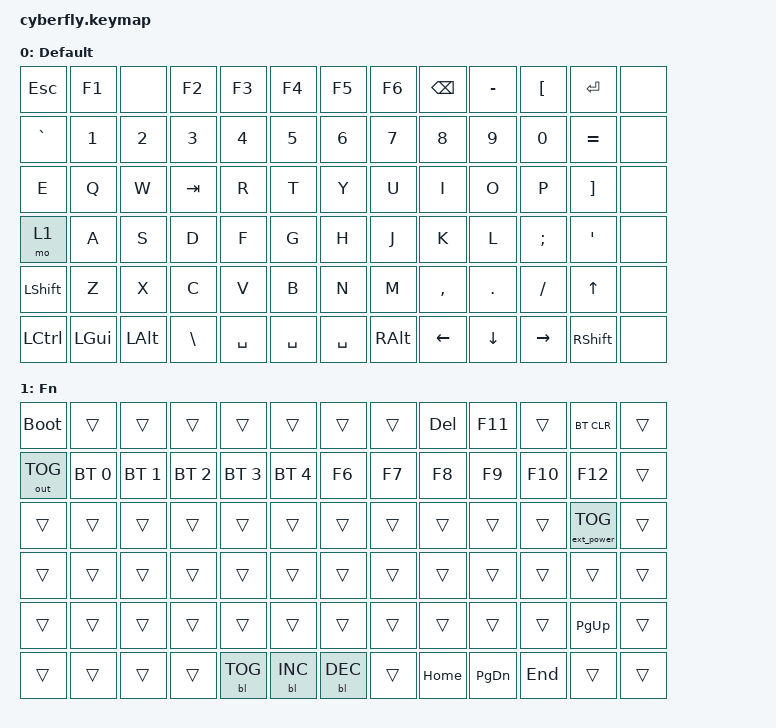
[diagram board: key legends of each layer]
/*
 * Copyright (c) 2025 The ZMK Contributors
 *
 * SPDX-License-Identifier: MIT
 */

#include <behaviors.dtsi>
#include <dt-bindings/zmk/keys.h>
#include <dt-bindings/zmk/bt.h>
#include <dt-bindings/zmk/outputs.h>
#include <dt-bindings/zmk/backlight.h>
#include <dt-bindings/zmk/ext_power.h>

/ {
    keymap {
        compatible = "zmk,keymap";

        default_layer {
            display-name = "Default";
            // Matrix order from schematic (6R×12C + C12 fly wire)
            //       C0    C1    C2    C3    C4    C5    C6    C7    C8    C9    C10   C11   C12
            // R0:   Esc   □     ___   △     ✕     ○     △     ◇     ✕     -     [     Enter
            // R1:   ~     1     2     3     4     5     6     7     8     9     0     =
            // R2:   E     Q     W     Tab   R     T     Y     U     I     O     P     ]
            // R3:   Fn    A     S     D     F     G     H     J     K     L     ;     '
            // R4:   Shift Z     X     C     V     B     N     M     ,     .     /     Up
            // R5:   Ctrl  Super Alt   \     Spc   Spc   Spc   RAlt  Left  Down  Right RShift
            bindings = <
                &kp ESC   &kp F1    &none     &kp F2    &kp F3    &kp F4    &kp F5    &kp F6    &kp BSPC  &kp MINUS &kp LBKT  &kp RET   &none
                &kp GRAVE &kp N1    &kp N2    &kp N3    &kp N4    &kp N5    &kp N6    &kp N7    &kp N8    &kp N9    &kp N0    &kp EQUAL &none
                &kp E     &kp Q     &kp W     &kp TAB   &kp R     &kp T     &kp Y     &kp U     &kp I     &kp O     &kp P     &kp RBKT  &none
                &mo 1     &kp A     &kp S     &kp D     &kp F     &kp G     &kp H     &kp J     &kp K     &kp L     &kp SEMI  &kp SQT   &none
                &kp LSHFT &kp Z     &kp X     &kp C     &kp V     &kp B     &kp N     &kp M     &kp COMMA &kp DOT   &kp FSLH  &kp UP    &none
                &kp LCTRL &kp LGUI  &kp LALT  &kp BSLH  &kp SPACE &kp SPACE &kp SPACE &kp RALT  &kp LEFT  &kp DOWN  &kp RIGHT &kp RSHFT &none
            >;
        };

        fn_layer {
            display-name = "Fn";
            //       C0         C1        C2        C3        C4        C5        C6        C7     C8     C9     C10    C11          C12
            // R0:   Bootldr    ---       ---       ---       ---       ---       ---       ---    DEL    F11    ---    BT_CLR
            // R1:   OUT_TOG    BT0       BT1       BT2       BT3       BT4       F6        F7     F8     F9     F10    F12
            // R2:   ---        ---       ---       ---       ---       ---       ---       ---    ---    ---    ---    EP_TOG
            // R3:   [held]     ---       ---       ---       ---       ---       ---       ---    ---    ---    ---    ---
            // R4:   ---        ---       ---       ---       ---       ---       ---       ---    ---    ---    ---    PgUp
            // R5:   ---        ---       ---       ---       BL_TOG    BL_INC    BL_DEC    ---    Home   PgDn   End    ---
            bindings = <
                &bootloader &trans      &trans       &trans       &trans       &trans       &trans    &trans &kp DEL  &kp F11  &trans   &bt BT_CLR &trans
                &out OUT_TOG &bt BT_SEL 0 &bt BT_SEL 1 &bt BT_SEL 2 &bt BT_SEL 3 &bt BT_SEL 4 &kp F6 &kp F7 &kp F8 &kp F9 &kp F10 &kp F12 &trans
                &trans      &trans       &trans       &trans       &trans       &trans       &trans    &trans &trans   &trans   &trans   &ext_power EP_TOG &trans
                &trans      &trans       &trans       &trans       &trans       &trans       &trans    &trans &trans   &trans   &trans   &trans  &trans
                &trans      &trans       &trans       &trans       &trans       &trans       &trans    &trans &trans   &trans   &trans   &kp PG_UP &trans
                &trans      &trans       &trans       &trans       &bl BL_TOG   &bl BL_INC   &bl BL_DEC &trans &kp HOME &kp PG_DN &kp END &trans &trans
            >;
        };
    };
};
